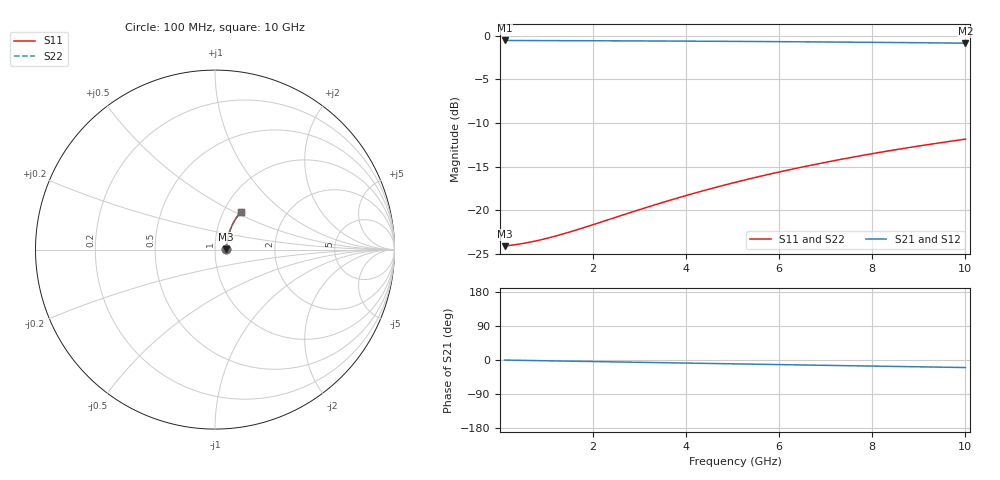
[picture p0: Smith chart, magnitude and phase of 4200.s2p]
# Hz S RI R 50.00
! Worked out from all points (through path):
!   100 points, 100 MHz to 10 GHz, reference 50 ohm
!   highest |S21| = -0.56 dB at 100 MHz (marker M1); lowest = -0.9 dB at 10 GHz (marker M2)
!   group delay of S21, straight-line fit = 5.53 ps
!   lowest |S11| = -24.1 dB at 100 MHz (marker M3), VSWR 1.13, Z = 56.6 + j0.269 ohm
!   |S11| at or under -10 dB: start of sweep to end of sweep
!   |S22| runs from -24.1 to -11.9 dB; largest |S21 - S12| = 0
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1e8  0.0621 0.00236  0.9378 -0.00333  0.9378 -0.00333  0.0621 0.00236
5e8  0.0634 0.0118  0.9366 -0.0166  0.9366 -0.0166  0.0634 0.0118
7e8  0.0639 0.0165  0.936 -0.0233  0.936 -0.0233  0.0639 0.0165
9e8  0.0645 0.0212  0.9355 -0.0299  0.9355 -0.0299  0.0645 0.0212
1.1e9  0.065 0.0258  0.9349 -0.0365  0.9349 -0.0365  0.065 0.0258
1.3e9  0.0656 0.0305  0.9343 -0.0431  0.9343 -0.0431  0.0656 0.0305
1.8e9  0.0673 0.0421  0.9325 -0.0596  0.9325 -0.0596  0.0673 0.0421
2.9e9  0.0722 0.0674  0.9274 -0.0956  0.9274 -0.0956  0.0722 0.0674
3.4e9  0.075 0.0787  0.9244 -0.1117  0.9244 -0.1117  0.075 0.0787
3.9e9  0.0782 0.0899  0.921 -0.1278  0.921 -0.1278  0.0782 0.0899
4.3e9  0.081 0.0988  0.9181 -0.1405  0.9181 -0.1405  0.081 0.0988
4.7e9  0.0841 0.1075  0.9148 -0.1531  0.9148 -0.1531  0.0841 0.1075
5.1e9  0.0873 0.1161  0.9114 -0.1657  0.9114 -0.1657  0.0873 0.1161
5.5e9  0.0908 0.1246  0.9077 -0.1781  0.9077 -0.1781  0.0908 0.1246
5.9e9  0.0945 0.133  0.9037 -0.1904  0.9037 -0.1904  0.0945 0.133
6.3e9  0.0985 0.1413  0.8995 -0.2025  0.8995 -0.2025  0.0985 0.1413
6.7e9  0.1026 0.1494  0.8951 -0.2146  0.8951 -0.2146  0.1026 0.1494
7.5e9  0.1115 0.1652  0.8857 -0.2382  0.8857 -0.2382  0.1115 0.1652
7.9e9  0.1163 0.1729  0.8806 -0.2498  0.8806 -0.2498  0.1163 0.1729
8.4e9  0.1225 0.1823  0.874 -0.264  0.874 -0.264  0.1225 0.1823
9.2e9  0.133 0.1967  0.8628 -0.2863  0.8628 -0.2863  0.133 0.1967
1e10  0.1442 0.2105  0.8509 -0.3079  0.8509 -0.3079  0.1442 0.2105
